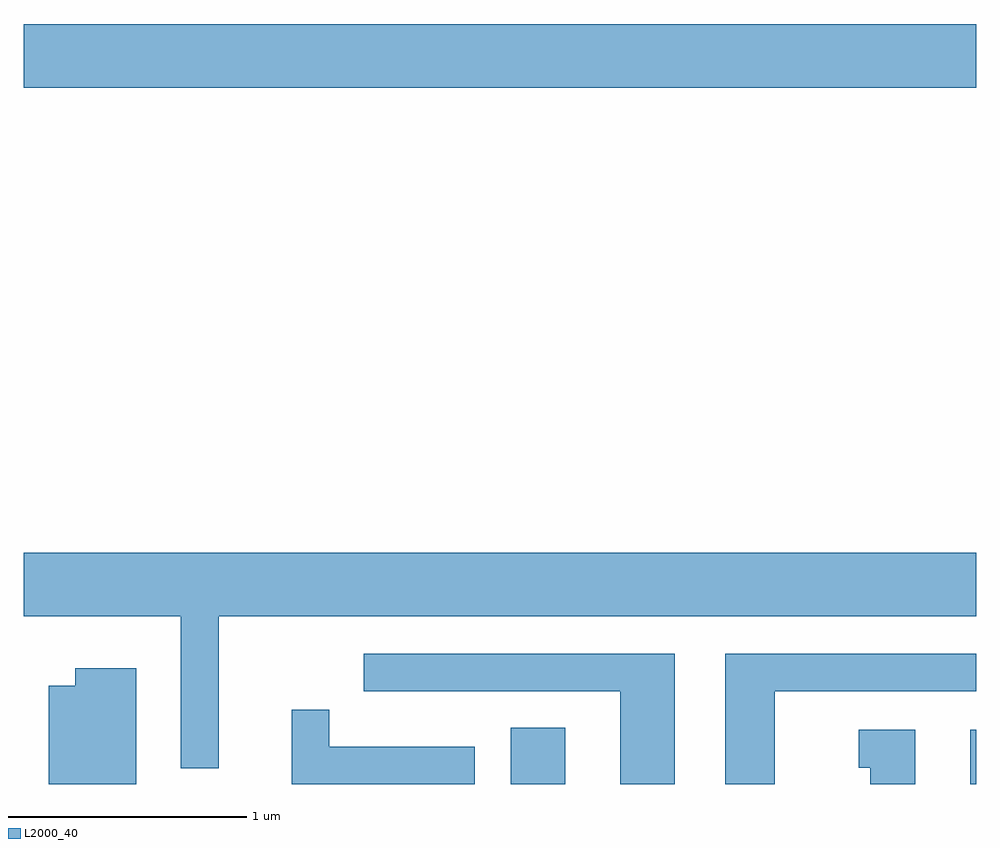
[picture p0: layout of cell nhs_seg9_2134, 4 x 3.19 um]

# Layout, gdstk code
import gdstk
lib = gdstk.Library(unit=1e-6, precision=1e-09)
def R(c, l, rs):  # rectangles x0, y0, x1, y1
    for r in rs: c.add(gdstk.rectangle(r[:2], r[2:], *l))
def P(c, l, *ps):  # polygons
    for p in ps: c.add(gdstk.Polygon(p, *l))
L2000_40 = (2000, 40)

nhs_seg9_2134 = lib.new_cell('nhs_seg9_2134')
R(nhs_seg9_2134, L2000_40, [(249.656,2004.432,249.884,2004.669), (251.586,2004.432,251.611,2004.659), (247.611,2007.356,251.611,2007.624)])
P(nhs_seg9_2134, L2000_40, [(248.429,2005.136),(251.611,2005.136),(251.611,2005.404),(247.611,2005.404),(247.611,2005.136),(248.271,2005.136),(248.271,2004.498),(248.429,2004.498)],
  [(250.764,2004.821),(251.611,2004.821),(251.611,2004.979),(250.556,2004.979),(250.556,2004.432),(250.764,2004.432)],
  [(250.344,2004.979),(249.038,2004.979),(249.038,2004.821),(250.116,2004.821),(250.116,2004.432),(250.344,2004.432)],
  [(248.084,2004.919),(247.826,2004.919),(247.826,2004.844),(247.716,2004.844),(247.716,2004.432),(248.084,2004.432)],
  [(249.504,2004.589),(248.894,2004.589),(248.894,2004.743),(248.736,2004.743),(248.736,2004.432),(249.504,2004.432)],
  [(251.354,2004.659),(251.118,2004.659),(251.118,2004.501),(251.166,2004.501),(251.166,2004.432),(251.354,2004.432)])

lib.write_gds('nhs_seg9_2134.gds')
